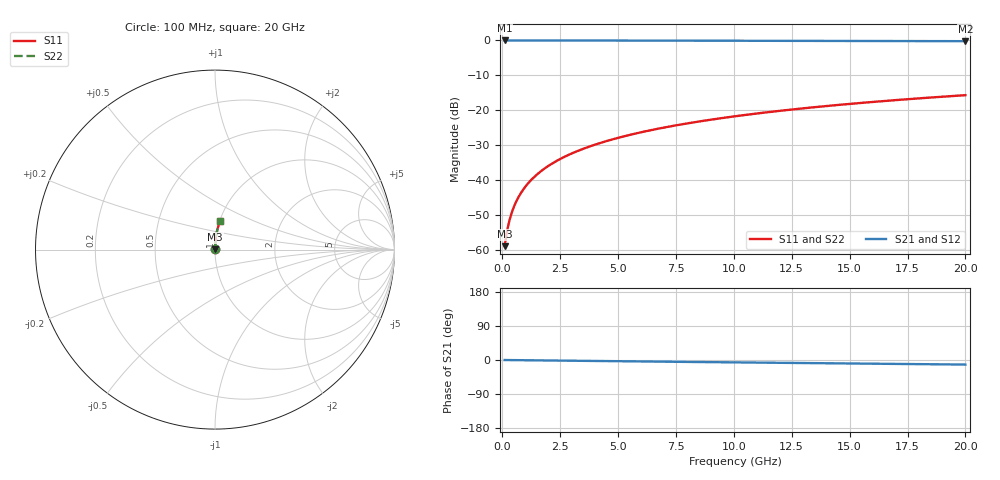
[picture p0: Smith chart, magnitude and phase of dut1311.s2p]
! Touchstone file exported from HFSS 2024.1.0
!  File:  C:/UserFiles/LocalFiles/RDL_TSV_Batchsim/temp_RDL_bottom_1311_1780368524.aedt
!  Generated:  10:51:43 AM Jun  2, 2026
!  Design:  RDL_bottom
!  Project:  temp_RDL_bottom_1311_1780368524
!  Setup:  Setup1
!  Solution:  Sweep
! Variables:
!  dtsv = 10.80580581um
!  hbump = 3um
!  htsv = 94.63um
!  ldown = 108.65um
!  lrdl = 100um
!  p = 40
!  p1 = 55.69um
!  rhole = 1um
!  t = 450um
!  tdown = 4.26um
!  trdl = 3.915915916um
!  wdown = 14.31um
!  wrdl = 20um
# GHz S MA R 50.000000
! Terminal data exported
! Port[1] = RDL1_T1
! Port[2] = RDL1_T2
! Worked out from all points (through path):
!   200 points, 100 MHz to 20 GHz, reference 50 ohm
!   highest |S21| = -0.01 dB at 100 MHz (marker M1); lowest = -0.2 dB at 20 GHz (marker M2)
!   group delay of S21, straight-line fit = 1.67 ps
!   lowest |S11| = -58.9 dB at 100 MHz (marker M3), VSWR 1.00, Z = 50.1 + j0.0832 ohm
!   |S11| at or under -10 dB: start of sweep to end of sweep
!   |S22| runs from -58.9 to -15.7 dB; largest |S21 - S12| = 3.2e-15
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0.1  0.001139 46.8  0.9992 -0.1  0.9992 -0.1  0.001139 46.8
! Gamma 0 0 0 0
! Port Impedance 50 0 50 0
0.2  0.001835 64.2  0.9992 -0.1  0.9992 -0.1  0.001835 64.2
0.3  0.002596 71.6  0.9992 -0.2  0.9992 -0.2  0.002596 71.6
0.4  0.003374 75.6  0.9991 -0.3  0.9991 -0.3  0.003374 75.6
0.5  0.004158 78.1  0.9991 -0.3  0.9991 -0.3  0.004158 78.1
0.7  0.005734 81.1  0.9991 -0.5  0.9991 -0.5  0.005734 81.1
0.8  0.006525 82.1  0.999 -0.5  0.999 -0.5  0.006525 82.1
1  0.008113 83.5  0.999 -0.7  0.999 -0.7  0.008113 83.5
1.2  0.009707 84.4  0.9989 -0.8  0.9989 -0.8  0.009707 84.4
1.4  0.0113 85.1  0.9988 -0.9  0.9988 -0.9  0.0113 85.1
1.7  0.0137 85.7  0.9987 -1.1  0.9987 -1.1  0.0137 85.7
2  0.01611 86.2  0.9986 -1.3  0.9986 -1.3  0.01611 86.2
2.7  0.02174 86.8  0.9982 -1.8  0.9982 -1.8  0.02174 86.8
3.5  0.0282 87.0  0.9976 -2.3  0.9976 -2.3  0.0282 87.0
4.2  0.03388 87.0  0.997 -2.7  0.997 -2.7  0.03388 87.0
5  0.04039 87.0  0.9962 -3.2  0.9962 -3.2  0.04039 87.0
6.8  0.05518 86.5  0.9942 -4.3  0.9942 -4.3  0.05518 86.5
8.3  0.06761 86.0  0.9923 -5.3  0.9923 -5.3  0.06761 86.0
10.1  0.08261 85.1  0.99 -6.3  0.99 -6.3  0.08262 85.1
13.4  0.1102 83.4  0.9855 -8.3  0.9855 -8.3  0.1102 83.4
16.7  0.1377 81.5  0.9806 -10.2  0.9806 -10.2  0.1377 81.5
20  0.1648 79.5  0.9753 -12.1  0.9753 -12.1  0.1648 79.5
